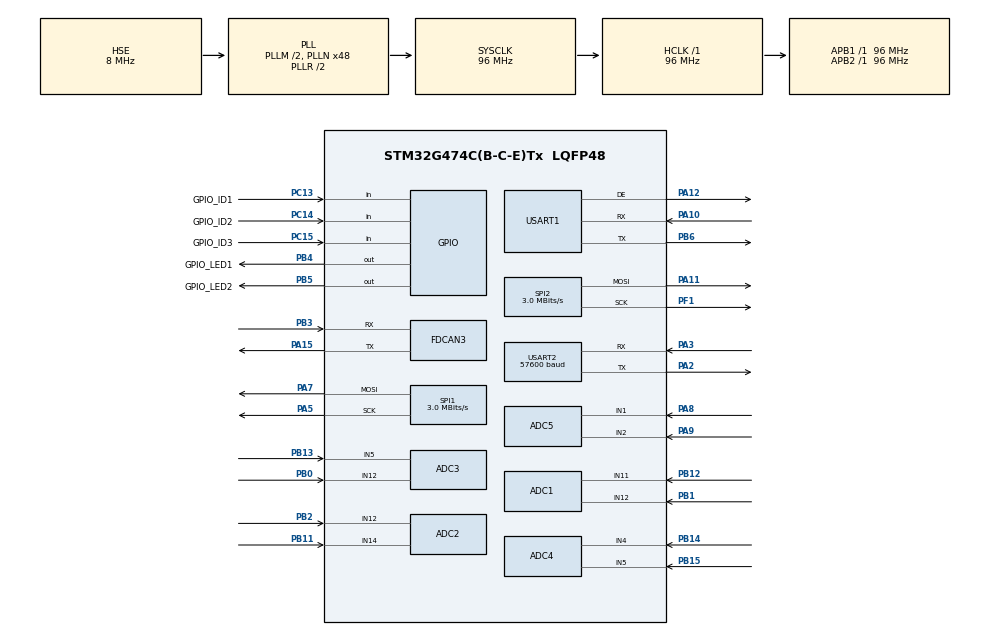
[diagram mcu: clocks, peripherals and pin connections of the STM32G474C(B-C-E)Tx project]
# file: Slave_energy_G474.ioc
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ADC1.Channel-0\#ChannelRegularConversion=ADC_CHANNEL_11
ADC1.Channel-1\#ChannelRegularConversion=ADC_CHANNEL_12
ADC1.ClockPrescaler=ADC_CLOCK_ASYNC_DIV4
ADC1.DMAContinuousRequests=ENABLE
ADC1.ExternalTrigConv=ADC_EXTERNALTRIG_T6_TRGO
ADC1.NbrOfConversion=2
ADC1.NbrOfConversionFlag=1
ADC1.OffsetNumber-0\#ChannelRegularConversion=ADC_OFFSET_NONE
ADC1.OffsetNumber-1\#ChannelRegularConversion=ADC_OFFSET_NONE
ADC1.Overrun=ADC_OVR_DATA_OVERWRITTEN
ADC1.Rank-0\#ChannelRegularConversion=1
ADC1.Rank-1\#ChannelRegularConversion=2
ADC1.SamplingTime-0\#ChannelRegularConversion=ADC_SAMPLETIME_12CYCLES_5
ADC1.SamplingTime-1\#ChannelRegularConversion=ADC_SAMPLETIME_12CYCLES_5
ADC1.master=1
ADC2.Channel-0\#ChannelRegularConversion=ADC_CHANNEL_14
ADC2.Channel-1\#ChannelRegularConversion=ADC_CHANNEL_12
ADC2.ClockPrescaler=ADC_CLOCK_ASYNC_DIV4
ADC2.DMAContinuousRequests=ENABLE
ADC2.ExternalTrigConv=ADC_EXTERNALTRIG_T6_TRGO
ADC2.NbrOfConversion=2
ADC2.NbrOfConversionFlag=1
ADC2.OffsetNumber-0\#ChannelRegularConversion=ADC_OFFSET_NONE
ADC2.OffsetNumber-1\#ChannelRegularConversion=ADC_OFFSET_NONE
ADC2.Overrun=ADC_OVR_DATA_OVERWRITTEN
ADC2.Rank-0\#ChannelRegularConversion=1
ADC2.Rank-1\#ChannelRegularConversion=2
ADC2.SamplingTime-0\#ChannelRegularConversion=ADC_SAMPLETIME_12CYCLES_5
ADC2.SamplingTime-1\#ChannelRegularConversion=ADC_SAMPLETIME_12CYCLES_5
ADC3.Channel-0\#ChannelRegularConversion=ADC_CHANNEL_5
ADC3.Channel-1\#ChannelRegularConversion=ADC_CHANNEL_12
ADC3.ClockPrescaler=ADC_CLOCK_ASYNC_DIV4
ADC3.DMAContinuousRequests=ENABLE
ADC3.ExternalTrigConv=ADC_EXTERNALTRIG_T6_TRGO
ADC3.NbrOfConversion=2
ADC3.NbrOfConversionFlag=1
ADC3.OffsetNumber-0\#ChannelRegularConversion=ADC_OFFSET_NONE
ADC3.OffsetNumber-1\#ChannelRegularConversion=ADC_OFFSET_NONE
ADC3.Overrun=ADC_OVR_DATA_OVERWRITTEN
ADC3.Rank-0\#ChannelRegularConversion=1
ADC3.Rank-1\#ChannelRegularConversion=2
ADC3.SamplingTime-0\#ChannelRegularConversion=ADC_SAMPLETIME_12CYCLES_5
ADC3.SamplingTime-1\#ChannelRegularConversion=ADC_SAMPLETIME_12CYCLES_5
ADC3.master=1
ADC4.Channel-0\#ChannelRegularConversion=ADC_CHANNEL_4
ADC4.Channel-1\#ChannelRegularConversion=ADC_CHANNEL_5
ADC4.ClockPrescaler=ADC_CLOCK_ASYNC_DIV4
ADC4.DMAContinuousRequests=ENABLE
ADC4.ExternalTrigConv=ADC_EXTERNALTRIG_T6_TRGO
ADC4.NbrOfConversion=2
ADC4.NbrOfConversionFlag=1
ADC4.OffsetNumber-0\#ChannelRegularConversion=ADC_OFFSET_NONE
ADC4.OffsetNumber-1\#ChannelRegularConversion=ADC_OFFSET_NONE
ADC4.Overrun=ADC_OVR_DATA_OVERWRITTEN
ADC4.Rank-0\#ChannelRegularConversion=1
ADC4.Rank-1\#ChannelRegularConversion=2
ADC4.SamplingTime-0\#ChannelRegularConversion=ADC_SAMPLETIME_12CYCLES_5
ADC4.SamplingTime-1\#ChannelRegularConversion=ADC_SAMPLETIME_12CYCLES_5
ADC5.Channel-0\#ChannelRegularConversion=ADC_CHANNEL_1
ADC5.Channel-1\#ChannelRegularConversion=ADC_CHANNEL_2
ADC5.ClockPrescaler=ADC_CLOCK_ASYNC_DIV4
ADC5.DMAContinuousRequests=ENABLE
ADC5.ExternalTrigConv=ADC_EXTERNALTRIG_T6_TRGO
ADC5.NbrOfConversion=2
ADC5.NbrOfConversionFlag=1
ADC5.OffsetNumber-0\#ChannelRegularConversion=ADC_OFFSET_NONE
ADC5.OffsetNumber-1\#ChannelRegularConversion=ADC_OFFSET_NONE
ADC5.Overrun=ADC_OVR_DATA_OVERWRITTEN
ADC5.Rank-0\#ChannelRegularConversion=1
ADC5.Rank-1\#ChannelRegularConversion=2
ADC5.SamplingTime-0\#ChannelRegularConversion=ADC_SAMPLETIME_12CYCLES_5
ADC5.SamplingTime-1\#ChannelRegularConversion=ADC_SAMPLETIME_12CYCLES_5
Dma.ADC1.0.Direction=DMA_PERIPH_TO_MEMORY
Dma.ADC1.0.EventEnable=DISABLE
Dma.ADC1.0.Instance=DMA1_Channel1
Dma.ADC1.0.MemDataAlignment=DMA_MDATAALIGN_HALFWORD
Dma.ADC1.0.MemInc=DMA_MINC_ENABLE
Dma.ADC1.0.Mode=DMA_CIRCULAR
Dma.ADC1.0.PeriphDataAlignment=DMA_PDATAALIGN_HALFWORD
Dma.ADC1.0.PeriphInc=DMA_PINC_DISABLE
Dma.ADC1.0.Polarity=HAL_DMAMUX_REQ_GEN_RISING
Dma.ADC1.0.Priority=DMA_PRIORITY_LOW
Dma.ADC1.0.RequestNumber=1
Dma.ADC1.0.SignalID=NONE
Dma.ADC1.0.SyncEnable=DISABLE
Dma.ADC1.0.SyncPolarity=HAL_DMAMUX_SYNC_NO_EVENT
Dma.ADC1.0.SyncRequestNumber=1
Dma.ADC1.0.SyncSignalID=NONE
Dma.ADC2.1.Direction=DMA_PERIPH_TO_MEMORY
Dma.ADC2.1.EventEnable=DISABLE
Dma.ADC2.1.Instance=DMA1_Channel2
Dma.ADC2.1.MemDataAlignment=DMA_MDATAALIGN_HALFWORD
Dma.ADC2.1.MemInc=DMA_MINC_ENABLE
Dma.ADC2.1.Mode=DMA_CIRCULAR
Dma.ADC2.1.PeriphDataAlignment=DMA_PDATAALIGN_HALFWORD
Dma.ADC2.1.PeriphInc=DMA_PINC_DISABLE
Dma.ADC2.1.Polarity=HAL_DMAMUX_REQ_GEN_RISING
Dma.ADC2.1.Priority=DMA_PRIORITY_LOW
Dma.ADC2.1.RequestNumber=1
Dma.ADC2.1.SignalID=NONE
Dma.ADC2.1.SyncEnable=DISABLE
Dma.ADC2.1.SyncPolarity=HAL_DMAMUX_SYNC_NO_EVENT
Dma.ADC2.1.SyncRequestNumber=1
Dma.ADC2.1.SyncSignalID=NONE
Dma.ADC3.2.Direction=DMA_PERIPH_TO_MEMORY
Dma.ADC3.2.EventEnable=DISABLE
Dma.ADC3.2.Instance=DMA1_Channel3
Dma.ADC3.2.MemDataAlignment=DMA_MDATAALIGN_HALFWORD
Dma.ADC3.2.MemInc=DMA_MINC_ENABLE
Dma.ADC3.2.Mode=DMA_CIRCULAR
Dma.ADC3.2.PeriphDataAlignment=DMA_PDATAALIGN_HALFWORD
Dma.ADC3.2.PeriphInc=DMA_PINC_DISABLE
Dma.ADC3.2.Polarity=HAL_DMAMUX_REQ_GEN_RISING
Dma.ADC3.2.Priority=DMA_PRIORITY_LOW
Dma.ADC3.2.RequestNumber=1
Dma.ADC3.2.SignalID=NONE
Dma.ADC3.2.SyncEnable=DISABLE
Dma.ADC3.2.SyncPolarity=HAL_DMAMUX_SYNC_NO_EVENT
Dma.ADC3.2.SyncRequestNumber=1
Dma.ADC3.2.SyncSignalID=NONE
Dma.ADC4.3.Direction=DMA_PERIPH_TO_MEMORY
Dma.ADC4.3.EventEnable=DISABLE
Dma.ADC4.3.Instance=DMA1_Channel4
Dma.ADC4.3.MemDataAlignment=DMA_MDATAALIGN_HALFWORD
Dma.ADC4.3.MemInc=DMA_MINC_ENABLE
Dma.ADC4.3.Mode=DMA_CIRCULAR
Dma.ADC4.3.PeriphDataAlignment=DMA_PDATAALIGN_HALFWORD
Dma.ADC4.3.PeriphInc=DMA_PINC_DISABLE
Dma.ADC4.3.Polarity=HAL_DMAMUX_REQ_GEN_RISING
Dma.ADC4.3.Priority=DMA_PRIORITY_LOW
Dma.ADC4.3.RequestNumber=1
Dma.ADC4.3.SignalID=NONE
Dma.ADC4.3.SyncEnable=DISABLE
Dma.ADC4.3.SyncPolarity=HAL_DMAMUX_SYNC_NO_EVENT
Dma.ADC4.3.SyncRequestNumber=1
Dma.ADC4.3.SyncSignalID=NONE
Dma.ADC5.4.Direction=DMA_PERIPH_TO_MEMORY
Dma.ADC5.4.EventEnable=DISABLE
Dma.ADC5.4.Instance=DMA1_Channel5
Dma.ADC5.4.MemDataAlignment=DMA_MDATAALIGN_HALFWORD
Dma.ADC5.4.MemInc=DMA_MINC_ENABLE
Dma.ADC5.4.Mode=DMA_CIRCULAR
Dma.ADC5.4.PeriphDataAlignment=DMA_PDATAALIGN_HALFWORD
Dma.ADC5.4.PeriphInc=DMA_PINC_DISABLE
Dma.ADC5.4.Polarity=HAL_DMAMUX_REQ_GEN_RISING
Dma.ADC5.4.Priority=DMA_PRIORITY_LOW
Dma.ADC5.4.RequestNumber=1
Dma.ADC5.4.SignalID=NONE
Dma.ADC5.4.SyncEnable=DISABLE
Dma.ADC5.4.SyncPolarity=HAL_DMAMUX_SYNC_NO_EVENT
Dma.ADC5.4.SyncRequestNumber=1
Dma.ADC5.4.SyncSignalID=NONE
Dma.Request0=ADC1
Dma.Request1=ADC2
Dma.Request2=ADC3
Dma.Request3=ADC4
Dma.Request4=ADC5
Dma.Request5=SPI1_TX
Dma.Request6=SPI2_TX
Dma.SPI1_TX.5.Direction=DMA_MEMORY_TO_PERIPH
Dma.SPI1_TX.5.EventEnable=DISABLE
Dma.SPI1_TX.5.Instance=DMA1_Channel6
Dma.SPI1_TX.5.MemDataAlignment=DMA_MDATAALIGN_BYTE
Dma.SPI1_TX.5.MemInc=DMA_MINC_ENABLE
Dma.SPI1_TX.5.Mode=DMA_NORMAL
Dma.SPI1_TX.5.PeriphDataAlignment=DMA_PDATAALIGN_BYTE
Dma.SPI1_TX.5.PeriphInc=DMA_PINC_DISABLE
Dma.SPI1_TX.5.Polarity=HAL_DMAMUX_REQ_GEN_RISING
Dma.SPI1_TX.5.Priority=DMA_PRIORITY_VERY_HIGH
Dma.SPI1_TX.5.RequestNumber=1
Dma.SPI1_TX.5.SignalID=NONE
Dma.SPI1_TX.5.SyncEnable=DISABLE
Dma.SPI1_TX.5.SyncPolarity=HAL_DMAMUX_SYNC_NO_EVENT
Dma.SPI1_TX.5.SyncRequestNumber=1
Dma.SPI1_TX.5.SyncSignalID=NONE
Dma.SPI2_TX.6.Direction=DMA_MEMORY_TO_PERIPH
Dma.SPI2_TX.6.EventEnable=DISABLE
Dma.SPI2_TX.6.Instance=DMA1_Channel7
Dma.SPI2_TX.6.MemDataAlignment=DMA_MDATAALIGN_BYTE
Dma.SPI2_TX.6.MemInc=DMA_MINC_ENABLE
Dma.SPI2_TX.6.Mode=DMA_NORMAL
Dma.SPI2_TX.6.PeriphDataAlignment=DMA_PDATAALIGN_BYTE
Dma.SPI2_TX.6.PeriphInc=DMA_PINC_DISABLE
Dma.SPI2_TX.6.Polarity=HAL_DMAMUX_REQ_GEN_RISING
Dma.SPI2_TX.6.Priority=DMA_PRIORITY_HIGH
Dma.SPI2_TX.6.RequestNumber=1
Dma.SPI2_TX.6.SignalID=NONE
Dma.SPI2_TX.6.SyncEnable=DISABLE
Dma.SPI2_TX.6.SyncPolarity=HAL_DMAMUX_SYNC_NO_EVENT
Dma.SPI2_TX.6.SyncRequestNumber=1
Dma.SPI2_TX.6.SyncSignalID=NONE
FDCAN3.AutoRetransmission=ENABLE
FDCAN3.CalculateBaudRateNominal=1000000
FDCAN3.CalculateTimeBitNominal=1000
FDCAN3.CalculateTimeQuantumNominal=62.5
FDCAN3.NominalPrescaler=3
FDCAN3.NominalSyncJumpWidth=2
FDCAN3.NominalTimeSeg1=13
FDCAN3.NominalTimeSeg2=2
FDCAN3.StdFiltersNbr=1
Mcu.Family=STM32G4
Mcu.Name=STM32G474C(B-C-E)Tx
Mcu.Package=LQFP48
NVIC.DMA1_Channel1_IRQn=true\:0\:0\:false\:false\:true\:false\:true\:true
NVIC.DMA1_Channel2_IRQn=true\:0\:0\:false\:false\:true\:false\:true\:true
NVIC.DMA1_Channel3_IRQn=true\:0\:0\:false\:false\:true\:false\:true\:true
NVIC.DMA1_Channel4_IRQn=true\:0\:0\:false\:false\:true\:false\:true\:true
NVIC.DMA1_Channel5_IRQn=true\:0\:0\:false\:false\:true\:false\:true\:true
NVIC.DMA1_Channel6_IRQn=true\:0\:0\:false\:false\:true\:false\:true\:true
NVIC.DMA1_Channel7_IRQn=true\:0\:0\:false\:false\:true\:false\:true\:true
NVIC.FDCAN3_IT0_IRQn=true\:0\:0\:false\:false\:true\:true\:true\:true
NVIC.PriorityGroup=NVIC_PRIORITYGROUP_4
PA10.Mode=Asynchronous
PA10.Signal=USART1_RX
PA11.GPIO_Speed=GPIO_SPEED_FREQ_VERY_HIGH
PA11.Mode=TX_Only_Simplex_Unidirect_Master
PA11.Signal=SPI2_MOSI
PA12.Mode=Hardware Flow Control (RS485)
PA12.Signal=USART1_DE
PA13.Mode=Serial_Wire
PA13.Signal=SYS_JTMS-SWDIO
PA14.Mode=Serial_Wire
PA14.Signal=SYS_JTCK-SWCLK
PA15.GPIO_Speed=GPIO_SPEED_FREQ_VERY_HIGH
PA15.Mode=FDCAN_Activate
PA15.Signal=FDCAN3_TX
PA2.Mode=Asynchronous
PA2.Signal=USART2_TX
PA3.Mode=Asynchronous
PA3.Signal=USART2_RX
PA5.GPIO_Speed=GPIO_SPEED_FREQ_VERY_HIGH
PA5.Mode=TX_Only_Simplex_Unidirect_Master
PA5.Signal=SPI1_SCK
PA7.GPIO_Speed=GPIO_SPEED_FREQ_VERY_HIGH
PA7.Mode=TX_Only_Simplex_Unidirect_Master
PA7.Signal=SPI1_MOSI
PA8.Mode=IN1-Single-Ended
PA8.Signal=ADC5_IN1
PA9.Mode=IN2-Single-Ended
PA9.Signal=ADC5_IN2
PB0.Mode=IN12-Single-Ended
PB0.Signal=ADC3_IN12
PB1.Mode=IN12-Single-Ended
PB1.Signal=ADC1_IN12
PB11.Mode=IN14-Single-Ended
PB11.Signal=ADC2_IN14
PB12.Mode=IN11-Single-Ended
PB12.Signal=ADC1_IN11
PB13.Mode=IN5-Single-Ended
PB13.Signal=ADC3_IN5
PB14.Mode=IN4-Single-Ended
PB14.Signal=ADC4_IN4
PB15.Mode=IN5-Single-Ended
PB15.Signal=ADC4_IN5
PB2.Mode=IN12-Single-Ended
PB2.Signal=ADC2_IN12
PB3.Mode=FDCAN_Activate
PB3.Signal=FDCAN3_RX
PB4.GPIO_Label=GPIO_LED1
PB4.PinState=GPIO_PIN_RESET
PB4.Signal=GPIO_Output
PB5.GPIO_Label=GPIO_LED2
PB5.PinState=GPIO_PIN_SET
PB5.Signal=GPIO_Output
PB6.Mode=Asynchronous
PB6.Signal=USART1_TX
PC13.GPIO_Label=GPIO_ID1
PC13.GPIO_PuPd=GPIO_PULLDOWN
PC13.Signal=GPIO_Input
PC14-OSC32_IN.GPIO_Label=GPIO_ID2
PC14-OSC32_IN.GPIO_PuPd=GPIO_PULLDOWN
PC14-OSC32_IN.Signal=GPIO_Input
PC15-OSC32_OUT.GPIO_Label=GPIO_ID3
PC15-OSC32_OUT.GPIO_PuPd=GPIO_PULLDOWN
PC15-OSC32_OUT.Signal=GPIO_Input
PF0-OSC_IN.Mode=HSE-External-Clock-Source
PF0-OSC_IN.Signal=RCC_OSC_IN
PF1-OSC_OUT.GPIO_Speed=GPIO_SPEED_FREQ_VERY_HIGH
PF1-OSC_OUT.Mode=TX_Only_Simplex_Unidirect_Master
PF1-OSC_OUT.Signal=SPI2_SCK
ProjectManager.HeapSize=0x2000
ProjectManager.StackSize=0x4000
ProjectManager.TargetToolchain=STM32CubeIDE
RCC.ADC12Freq_Value=96000000
RCC.ADC345Freq_Value=96000000
RCC.AHBFreq_Value=96000000
RCC.APB1Freq_Value=96000000
RCC.APB1TimFreq_Value=96000000
RCC.APB2Freq_Value=96000000
RCC.APB2TimFreq_Value=96000000
RCC.CortexFreq_Value=96000000
RCC.EXTERNAL_CLOCK_VALUE=12288000
RCC.FDCANCLockSelection=RCC_FDCANCLKSOURCE_PLL
RCC.HCLKFreq_Value=96000000
RCC.HSE_VALUE=8000000
RCC.HSI48_VALUE=48000000
RCC.HSI_VALUE=16000000
RCC.LSE_VALUE=32768
RCC.PLLM=RCC_PLLM_DIV2
RCC.PLLN=48
RCC.PLLQ=RCC_PLLQ_DIV4
RCC.PLLSourceVirtual=RCC_PLLSOURCE_HSE
RCC.SYSCLKFreq_VALUE=96000000
RCC.SYSCLKSource=RCC_SYSCLKSOURCE_PLLCLK
RCC.USBFreq_Value=48000000
RCC.VCOOutputFreq_Value=192000000
SPI1.BaudRatePrescaler=SPI_BAUDRATEPRESCALER_32
SPI1.CalculateBaudRate=3.0 MBits/s
SPI1.DataSize=SPI_DATASIZE_8BIT
SPI1.Direction=SPI_DIRECTION_2LINES
SPI1.Mode=SPI_MODE_MASTER
SPI1.NSSPMode=SPI_NSS_PULSE_DISABLE
SPI1.VirtualType=VM_MASTER
SPI2.BaudRatePrescaler=SPI_BAUDRATEPRESCALER_32
SPI2.CalculateBaudRate=3.0 MBits/s
SPI2.DataSize=SPI_DATASIZE_8BIT
SPI2.Direction=SPI_DIRECTION_2LINES
SPI2.Mode=SPI_MODE_MASTER
SPI2.NSSPMode=SPI_NSS_PULSE_DISABLE
SPI2.VirtualType=VM_MASTER
TIM6.PeriodNoDither=99
TIM6.Prescaler=95
TIM6.TIM_MasterOutputTrigger=TIM_TRGO_UPDATE
USART1.VirtualMode-Asynchronous=VM_ASYNC
USART1.VirtualMode-Hardware\ Flow\ Control\ (RS485)=VM_ASYNC
USART2.BaudRate=57600
USART2.VirtualMode-Asynchronous=VM_ASYNC
VP_SYS_VS_DBSignals.Mode=DisableDeadBatterySignals
VP_TIM6_VS_ClockSourceINT.Mode=Enable_Timer
VREF+.Mode=InternalMode
VREF+.Signal=VREFBUF_OUT
board=custom

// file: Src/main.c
/* USER CODE BEGIN Header */
/**
  ******************************************************************************
  * @file           : main.c
  * @brief          : Main program body
  ******************************************************************************
  * @attention
  *
  * Copyright (c) 2026 STMicroelectronics.
  * All rights reserved.
  *
  * This software is licensed under terms that can be found in the LICENSE file
  * in the root directory of this software component.
  * If no LICENSE file comes with this software, it is provided AS-IS.
  *
  ******************************************************************************
  */
/* USER CODE END Header */
#include "main.h"
#include "adc.h"
#include "dma.h"
#include "fdcan.h"
#include "spi.h"
#include "tim.h"
#include "usart.h"
#include "gpio.h"

/* USER CODE BEGIN Includes */
#include "ws2812_spi.h"
#include "ws2812_spi2.h"
#include "target.h"
#include "board_can.h"
#include "hit_adc.h"
#include "hit_detect.h"
/* USER CODE END Includes */

/* USER CODE BEGIN PV */
// 接收数据的副本，为了让检测期间的数据保持不变
static uint16_t adc_block[FRAMES_PER_BLOCK][CHANNEL_COUNT];
// 只用于验证读取是否持续成功，是临时调试计数
static volatile uint32_t adc_received_blocks = 0;
// 记录数据跳块发生次数，采集验证后可以删除
static volatile uint32_t adc_gap_events = 0;
// 已被主程序取走未放入can队列
static uint8_t hit_to_send = 0;
/* USER CODE END PV */

void SystemClock_Config(void);

int main(void)
{

  /* MCU Configuration--------------------------------------------------------*/

  /* Reset of all peripherals, Initializes the Flash interface and the Systick. */
  HAL_Init();

  /* Configure the system clock */
  SystemClock_Config();

  /* Initialize all configured peripherals */
  MX_GPIO_Init();
  MX_DMA_Init();
  MX_SPI2_Init();
  MX_USART2_UART_Init();
  MX_ADC1_Init();
  MX_ADC2_Init();
  MX_ADC3_Init();
  MX_ADC4_Init();
  MX_ADC5_Init();
  MX_FDCAN3_Init();
  MX_SPI1_Init();
  MX_USART1_UART_Init();
  MX_TIM6_Init();
  /* USER CODE BEGIN 2 */
  WS2812_Init();
  Perimeter_Init();

  //test
  // Perimeter_Clear();
  // Perimeter_Fill(100, 0, 0);
  // Perimeter_Show();
  if (BoardCan_Init() == 0) {
    Error_Handler();
  }
  if (HitADC_Init() == 0) {
    Error_Handler();
  }
  // test
  // WS2812_Clear();
  // for (uint16_t i = 0; i < 5; i++) {
  //     Perimeter_SetPixel(i, 50, 0, 0);
  // }

//   HAL_StatusTypeDef rs232_status = HAL_UART_Transmit(
//     &huart2,
//     rs232_test_data,
//     sizeof(rs232_test_data),
//     100
// );
  /* USER CODE END 2 */

  /* Infinite loop */
  /* USER CODE BEGIN WHILE */
  while (1)
  {
    // WS2812_Show();
      // Perimeter_Show();
    uint8_t adc_result = HitADC_ReadBlock(adc_block);
    if (adc_result != 0) {
        adc_received_blocks++;
        if (adc_result == 2) {
            adc_gap_events++;
        }
        HitDetect_Process(adc_block, adc_result == 1);
    }
    if (hit_to_send == 0) {
      HitDetect_GetResult(&hit_to_send);
    }
    if (hit_to_send != 0) {
      if (BoardCan_SendHit(hit_to_send) != 0) {
        hit_to_send = 0;
      }
    }
    BoardCan_Task();
    Arrow_Task();
  }
    /* USER CODE END WHILE */

}

void SystemClock_Config(void)
{
  RCC_OscInitTypeDef RCC_OscInitStruct = {0};
  RCC_ClkInitTypeDef RCC_ClkInitStruct = {0};

  /** Configure the main internal regulator output voltage
  */
  HAL_PWREx_ControlVoltageScaling(PWR_REGULATOR_VOLTAGE_SCALE1);

  /** Initializes the RCC Oscillators according to the specified parameters
  * in the RCC_OscInitTypeDef structure.
  */
  RCC_OscInitStruct.OscillatorType = RCC_OSCILLATORTYPE_HSE;
  RCC_OscInitStruct.HSEState = RCC_HSE_BYPASS;
  RCC_OscInitStruct.PLL.PLLState = RCC_PLL_ON;
  RCC_OscInitStruct.PLL.PLLSource = RCC_PLLSOURCE_HSE;
  RCC_OscInitStruct.PLL.PLLM = RCC_PLLM_DIV2;
  RCC_OscInitStruct.PLL.PLLN = 48;
  RCC_OscInitStruct.PLL.PLLP = RCC_PLLP_DIV2;
  RCC_OscInitStruct.PLL.PLLQ = RCC_PLLQ_DIV4;
  RCC_OscInitStruct.PLL.PLLR = RCC_PLLR_DIV2;
  if (HAL_RCC_OscConfig(&RCC_OscInitStruct) != HAL_OK)
  {
    Error_Handler();
  }

  /** Initializes the CPU, AHB and APB buses clocks
  */
  RCC_ClkInitStruct.ClockType = RCC_CLOCKTYPE_HCLK|RCC_CLOCKTYPE_SYSCLK
                              |RCC_CLOCKTYPE_PCLK1|RCC_CLOCKTYPE_PCLK2;
  RCC_ClkInitStruct.SYSCLKSource = RCC_SYSCLKSOURCE_PLLCLK;
  RCC_ClkInitStruct.AHBCLKDivider = RCC_SYSCLK_DIV1;
  RCC_ClkInitStruct.APB1CLKDivider = RCC_HCLK_DIV1;
  RCC_ClkInitStruct.APB2CLKDivider = RCC_HCLK_DIV1;

  if (HAL_RCC_ClockConfig(&RCC_ClkInitStruct, FLASH_LATENCY_3) != HAL_OK)
  {
    Error_Handler();
  }
}

void Error_Handler(void)
{
  __disable_irq();
  while (1)
  {
  }
}
